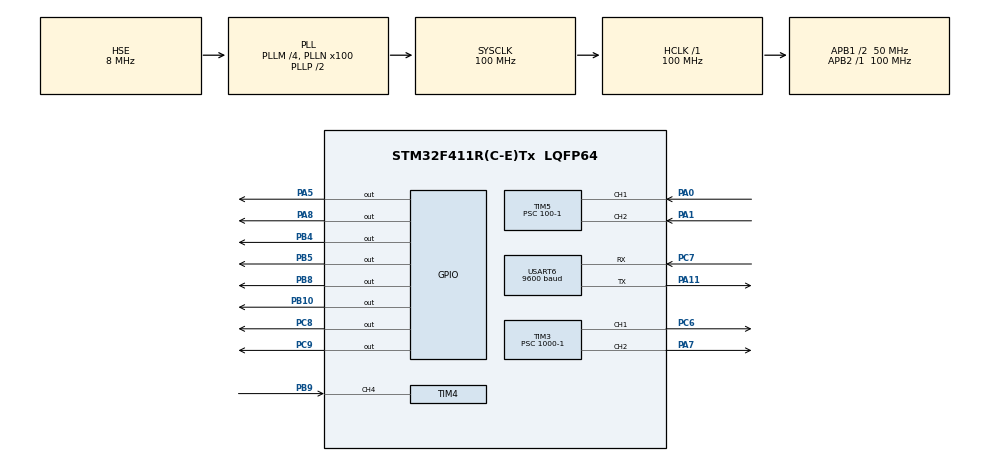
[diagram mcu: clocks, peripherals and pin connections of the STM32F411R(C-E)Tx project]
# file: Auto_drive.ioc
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FREERTOS.Tasks01=defaultTask,24,128,StartDefaultTask,Default,NULL,Dynamic,NULL,NULL;myTask02,24,128,StartTask02,Default,NULL,Dynamic,NULL,NULL;myTask03,24,128,StartTask03,Default,NULL,Dynamic,NULL,NULL;myTask04,24,128,StartTask04,Default,NULL,Dynamic,NULL,NULL
FREERTOS.configUSE_NEWLIB_REENTRANT=1
Mcu.Family=STM32F4
Mcu.Name=STM32F411R(C-E)Tx
Mcu.Package=LQFP64
NVIC.PriorityGroup=NVIC_PRIORITYGROUP_4
NVIC.TIM1_TRG_COM_TIM11_IRQn=true\:15\:0\:false\:false\:true\:false\:false\:true\:true
NVIC.TIM3_IRQn=true\:5\:0\:false\:false\:true\:true\:true\:true\:true
NVIC.TIM4_IRQn=true\:5\:0\:false\:false\:true\:true\:true\:true\:true
NVIC.TIM5_IRQn=true\:5\:0\:false\:false\:true\:true\:true\:true\:true
NVIC.TimeBase=TIM1_TRG_COM_TIM11_IRQn
NVIC.TimeBaseIP=TIM11
NVIC.USART6_IRQn=true\:5\:0\:false\:false\:true\:true\:true\:true\:true
PA0-WKUP.Signal=S_TIM5_CH1
PA1.Signal=S_TIM5_CH2
PA11.Mode=Asynchronous
PA11.Signal=USART6_TX
PA13.Mode=Serial_Wire
PA13.Signal=SYS_JTMS-SWDIO
PA14.Mode=Serial_Wire
PA14.Signal=SYS_JTCK-SWCLK
PA5.Signal=GPIO_Output
PA7.Signal=S_TIM3_CH2
PA8.GPIO_Speed=GPIO_SPEED_FREQ_VERY_HIGH
PA8.Signal=GPIO_Output
PB10.GPIO_Speed=GPIO_SPEED_FREQ_VERY_HIGH
PB10.Signal=GPIO_Output
PB4.GPIO_Speed=GPIO_SPEED_FREQ_VERY_HIGH
PB4.Signal=GPIO_Output
PB5.GPIO_Speed=GPIO_SPEED_FREQ_VERY_HIGH
PB5.Signal=GPIO_Output
PB8.Signal=GPIO_Output
PB9.Signal=S_TIM4_CH4
PC6.Signal=S_TIM3_CH1
PC7.Mode=Asynchronous
PC7.Signal=USART6_RX
PC8.Signal=GPIO_Output
PC9.Signal=GPIO_Output
PH0\ -\ OSC_IN.Mode=HSE-External-Oscillator
PH0\ -\ OSC_IN.Signal=RCC_OSC_IN
PH1\ -\ OSC_OUT.Mode=HSE-External-Oscillator
PH1\ -\ OSC_OUT.Signal=RCC_OSC_OUT
ProjectManager.HeapSize=0x200
ProjectManager.StackSize=0x400
ProjectManager.TargetToolchain=STM32CubeIDE
RCC.48MHZClocksFreq_Value=50000000
RCC.AHBFreq_Value=100000000
RCC.APB1CLKDivider=RCC_HCLK_DIV2
RCC.APB1Freq_Value=50000000
RCC.APB1TimFreq_Value=100000000
RCC.APB2Freq_Value=100000000
RCC.APB2TimFreq_Value=100000000
RCC.CortexFreq_Value=100000000
RCC.HCLKFreq_Value=100000000
RCC.HSE_VALUE=8000000
RCC.HSI_VALUE=16000000
RCC.LSE_VALUE=32768
RCC.PLLM=4
RCC.PLLN=100
RCC.PLLSourceVirtual=RCC_PLLSOURCE_HSE
RCC.SYSCLKFreq_VALUE=100000000
RCC.SYSCLKSource=RCC_SYSCLKSOURCE_PLLCLK
RCC.VCOOutputFreq_Value=200000000
SH.S_TIM3_CH1.0=TIM3_CH1,PWM Generation1 CH1
SH.S_TIM3_CH2.0=TIM3_CH2,PWM Generation2 CH2
SH.S_TIM4_CH4.0=TIM4_CH4,Input_Capture4_from_TI4
SH.S_TIM5_CH1.0=TIM5_CH1,Input_Capture1_from_TI1
SH.S_TIM5_CH2.0=TIM5_CH2,Input_Capture2_from_TI2
TIM3.Channel-PWM\ Generation1\ CH1=TIM_CHANNEL_1
TIM3.Channel-PWM\ Generation2\ CH2=TIM_CHANNEL_2
TIM3.OC1Preload_PWM=DISABLE
TIM3.OC2Preload_PWM=DISABLE
TIM3.OCFastMode_PWM-PWM\ Generation1\ CH1=TIM_OCFAST_ENABLE
TIM3.OCFastMode_PWM-PWM\ Generation2\ CH2=TIM_OCFAST_ENABLE
TIM3.Period=2000-1
TIM3.Prescaler=1000-1
TIM4.Channel-Input_Capture4_from_TI4=TIM_CHANNEL_4
TIM4.ICFilter_CH4=10
TIM4.Prescaler=100-1
TIM5.Channel-Input_Capture1_from_TI1=TIM_CHANNEL_1
TIM5.Channel-Input_Capture2_from_TI2=TIM_CHANNEL_2
TIM5.ICFilter_CH1=10
TIM5.ICFilter_CH2=10
TIM5.Prescaler=100-1
USART6.BaudRate=9600
USART6.VirtualMode=VM_ASYNC
VP_FREERTOS_VS_CMSIS_V2.Mode=CMSIS_V2
VP_SYS_VS_tim11.Mode=TIM11
VP_TIM10_VS_ClockSourceINT.Mode=Enable_Timer
VP_TIM4_VS_ClockSourceINT.Mode=Internal
VP_TIM5_VS_ClockSourceINT.Mode=Internal
board=custom

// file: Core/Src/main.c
/* USER CODE BEGIN Header */
/**
  ******************************************************************************
  * @file           : main.c
  * @brief          : Main program body
  ******************************************************************************
  * @attention
  *
  * Copyright (c) 2024 STMicroelectronics.
  * All rights reserved.
  *
  * This software is licensed under terms that can be found in the LICENSE file
  * in the root directory of this software component.
  * If no LICENSE file comes with this software, it is provided AS-IS.
  *
  ******************************************************************************
  */
/* USER CODE END Header */
#include "main.h"
#include "cmsis_os.h"
#include "tim.h"
#include "usart.h"
#include "gpio.h"

/* USER CODE BEGIN Includes */

#include "delay.h"
#include "moter.h"
#include "ultrasonic.h"

/* USER CODE END Includes */

/* USER CODE BEGIN PV */

uint8_t rxData[1];
uint8_t pwmFlag = 0;

extern	uint8_t c_Distance;
extern	uint8_t r_Distance;
extern	uint8_t l_Distance;

uint8_t u_distance_c = 50;
uint8_t u_distance_r = 50;
uint8_t u_distance_l = 50;

/* USER CODE END PV */

void SystemClock_Config(void);
void MX_FREERTOS_Init(void);
/* USER CODE BEGIN PFP */

void HAL_UART_RxCpltCallback(UART_HandleTypeDef *huart)
{

		if(rxData[0] == 'P')
		{
			pwmFlag = 1;
		}
		else if (rxData[0] == 'A'){
			pwmFlag = 0;
		}

	HAL_UART_Receive_IT(&huart6, rxData, sizeof(rxData));
}

/* USER CODE END PFP */

int main(void)
{

  /* MCU Configuration--------------------------------------------------------*/

  /* Reset of all peripherals, Initializes the Flash interface and the Systick. */
  HAL_Init();

  /* Configure the system clock */
  SystemClock_Config();

  /* Initialize all configured peripherals */
  MX_GPIO_Init();
  MX_TIM3_Init();
  MX_TIM4_Init();
  MX_TIM5_Init();
  MX_USART6_UART_Init();
  MX_TIM10_Init();
  /* USER CODE BEGIN 2 */
  //moter
  PWM_Init();
  //ultra Sonic
  HAL_TIM_IC_Start_IT(&htim5, TIM_CHANNEL_1);
  HAL_TIM_IC_Start_IT(&htim5, TIM_CHANNEL_2);
  HAL_TIM_IC_Start_IT(&htim4, TIM_CHANNEL_4);
  //Bluetooth
  HAL_UART_Receive_IT(&huart6, rxData, sizeof(rxData));

  /* USER CODE END 2 */

  /* Init scheduler */
  osKernelInitialize();

  /* Call init function for freertos objects (in cmsis_os2.c) */
  MX_FREERTOS_Init();

  /* Start scheduler */
  osKernelStart();

  /* We should never get here as control is now taken by the scheduler */

  /* Infinite loop */
  while (1)
  {

  }
}

void SystemClock_Config(void)
{
  RCC_OscInitTypeDef RCC_OscInitStruct = {0};
  RCC_ClkInitTypeDef RCC_ClkInitStruct = {0};

  /** Configure the main internal regulator output voltage
  */
  __HAL_RCC_PWR_CLK_ENABLE();
  __HAL_PWR_VOLTAGESCALING_CONFIG(PWR_REGULATOR_VOLTAGE_SCALE1);

  /** Initializes the RCC Oscillators according to the specified parameters
  * in the RCC_OscInitTypeDef structure.
  */
  RCC_OscInitStruct.OscillatorType = RCC_OSCILLATORTYPE_HSE;
  RCC_OscInitStruct.HSEState = RCC_HSE_ON;
  RCC_OscInitStruct.PLL.PLLState = RCC_PLL_ON;
  RCC_OscInitStruct.PLL.PLLSource = RCC_PLLSOURCE_HSE;
  RCC_OscInitStruct.PLL.PLLM = 4;
  RCC_OscInitStruct.PLL.PLLN = 100;
  RCC_OscInitStruct.PLL.PLLP = RCC_PLLP_DIV2;
  RCC_OscInitStruct.PLL.PLLQ = 4;
  if (HAL_RCC_OscConfig(&RCC_OscInitStruct) != HAL_OK)
  {
    Error_Handler();
  }

  /** Initializes the CPU, AHB and APB buses clocks
  */
  RCC_ClkInitStruct.ClockType = RCC_CLOCKTYPE_HCLK|RCC_CLOCKTYPE_SYSCLK
                              |RCC_CLOCKTYPE_PCLK1|RCC_CLOCKTYPE_PCLK2;
  RCC_ClkInitStruct.SYSCLKSource = RCC_SYSCLKSOURCE_PLLCLK;
  RCC_ClkInitStruct.AHBCLKDivider = RCC_SYSCLK_DIV1;
  RCC_ClkInitStruct.APB1CLKDivider = RCC_HCLK_DIV2;
  RCC_ClkInitStruct.APB2CLKDivider = RCC_HCLK_DIV1;

  if (HAL_RCC_ClockConfig(&RCC_ClkInitStruct, FLASH_LATENCY_3) != HAL_OK)
  {
    Error_Handler();
  }
}

void HAL_TIM_PeriodElapsedCallback(TIM_HandleTypeDef *htim)
{
  if (htim->Instance == TIM11) {
    HAL_IncTick();
  }
}

void Error_Handler(void)
{
  __disable_irq();
  while (1)
  {
  }
}

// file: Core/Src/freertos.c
/* USER CODE BEGIN Header */
/**
  ******************************************************************************
  * File Name          : freertos.c
  * Description        : Code for freertos applications
  ******************************************************************************
  * @attention
  *
  * Copyright (c) 2024 STMicroelectronics.
  * All rights reserved.
  *
  * This software is licensed under terms that can be found in the LICENSE file
  * in the root directory of this software component.
  * If no LICENSE file comes with this software, it is provided AS-IS.
  *
  ******************************************************************************
  */
/* USER CODE END Header */

#include "FreeRTOS.h"
#include "task.h"
#include "main.h"
#include "cmsis_os.h"
#include "ultrasonic.h"

/* USER CODE BEGIN Includes */
extern uint8_t pwmFlag;
#include "moter.h"

/* USER CODE END Includes */

/* USER CODE BEGIN PD */
extern uint8_t u_distance_c;
extern uint8_t u_distance_r;
extern uint8_t u_distance_l;
/* USER CODE END PD */

/* Definitions for defaultTask */
osThreadId_t defaultTaskHandle;
const osThreadAttr_t defaultTask_attributes = {
  .name = "defaultTask",
  .stack_size = 128 * 4,
  .priority = (osPriority_t) osPriorityNormal,
};
/* Definitions for myTask02 */
osThreadId_t myTask02Handle;
const osThreadAttr_t myTask02_attributes = {
  .name = "myTask02",
  .stack_size = 128 * 4,
  .priority = (osPriority_t) osPriorityNormal,
};
/* Definitions for myTask03 */
osThreadId_t myTask03Handle;
const osThreadAttr_t myTask03_attributes = {
  .name = "myTask03",
  .stack_size = 128 * 4,
  .priority = (osPriority_t) osPriorityNormal,
};
/* Definitions for myTask04 */
osThreadId_t myTask04Handle;
const osThreadAttr_t myTask04_attributes = {
  .name = "myTask04",
  .stack_size = 128 * 4,
  .priority = (osPriority_t) osPriorityNormal,
};

void StartDefaultTask(void *argument);
void StartTask02(void *argument);
void StartTask03(void *argument);
void StartTask04(void *argument);

void MX_FREERTOS_Init(void); /* (MISRA C 2004 rule 8.1) */

void MX_FREERTOS_Init(void) {

  /* Create the thread(s) */
  /* creation of defaultTask */
  defaultTaskHandle = osThreadNew(StartDefaultTask, NULL, &defaultTask_attributes);

  /* creation of myTask02 */
  myTask02Handle = osThreadNew(StartTask02, NULL, &myTask02_attributes);

  /* creation of myTask03 */
  myTask03Handle = osThreadNew(StartTask03, NULL, &myTask03_attributes);

  /* creation of myTask04 */
  myTask04Handle = osThreadNew(StartTask04, NULL, &myTask04_attributes);

}

void StartDefaultTask(void *argument)
{
  /* USER CODE BEGIN StartDefaultTask */
  /* Infinite loop */
  for(;;)
  {

	  if (pwmFlag == 1){
	  START();
  	  }
    osDelay(1);
  }
  /* USER CODE END StartDefaultTask */
}

void StartTask02(void *argument)
{
  /* USER CODE BEGIN StartTask02 */
  /* Infinite loop */
  for(;;)
  {
//	  FORWARD();

    HCSR04_read_ch1();
    osDelay(1);
  }
  /* USER CODE END StartTask02 */
}

void StartTask03(void *argument)
{
  /* USER CODE BEGIN StartTask03 */
  /* Infinite loop */
  for(;;)
  {
    HCSR04_read_ch2();
    osDelay(1);
  }
  /* USER CODE END StartTask03 */
}

void StartTask04(void *argument)
{
  /* USER CODE BEGIN StartTask04 */
  /* Infinite loop */
  for(;;)
  {
    HCSR04_read_ch3();
    osDelay(1);
  }
  /* USER CODE END StartTask04 */
}
